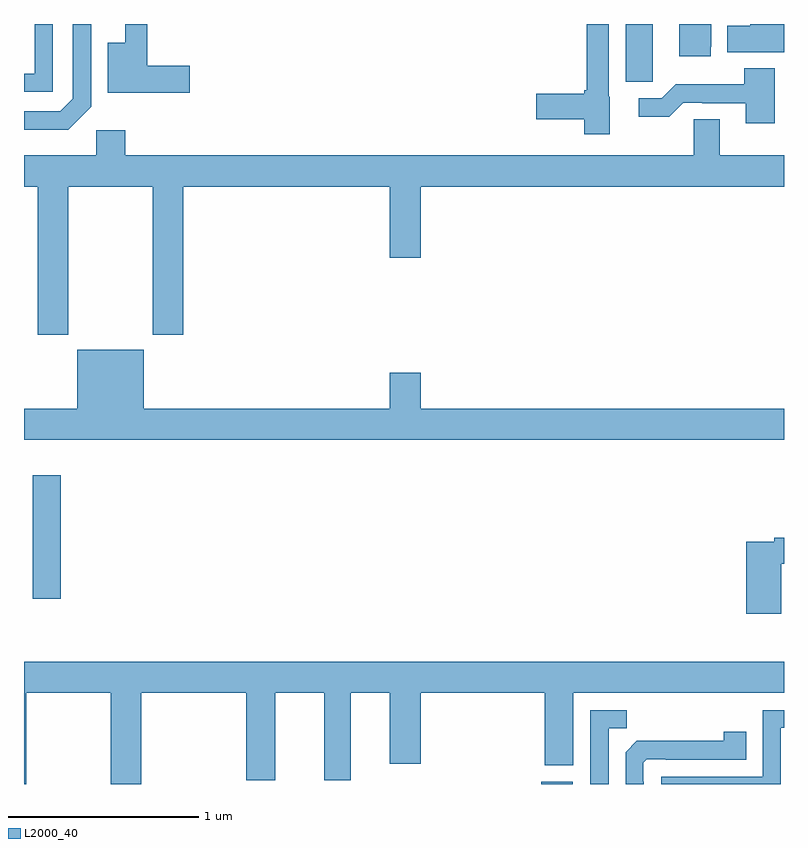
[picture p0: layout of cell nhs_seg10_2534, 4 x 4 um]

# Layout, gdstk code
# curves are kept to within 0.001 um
import gdstk
lib = gdstk.Library(unit=1e-6, precision=1e-09)
def R(c, l, rs):  # rectangles x0, y0, x1, y1
    for r in rs: c.add(gdstk.rectangle(r[:2], r[2:], *l))
def P(c, l, *ps):  # polygons
    for p in ps: c.add(gdstk.Polygon(p, *l))
L2000_40 = (2000, 40)

nhs_seg10_2534 = lib.new_cell('nhs_seg10_2534')
R(nhs_seg10_2534, L2000_40, [(249.722,1302.5,249.889,1302.511), (247.046,1303.476,247.193,1304.125)])
P(nhs_seg10_2534, L2000_40, [(247.353,1306.065),(247.353,1306.5),(247.257,1306.5),(247.257,1306.107),(247.191,1306.041),(247,1306.041),(247,1305.944),(247.232,1305.944)],
  [(250.615,1306.38),(250.617,1306.38),(250.617,1306.5),(250.448,1306.5),(250.448,1306.331),(250.615,1306.331)],
  [(247.873,1306.28),(247.649,1306.28),(247.649,1306.5),(247.532,1306.5),(247.532,1306.402),(247.442,1306.402),(247.442,1306.138),(247.873,1306.138)],
  [(250.308,1306.306),(250.309,1306.306),(250.309,1306.5),(250.166,1306.5),(250.166,1306.195),(250.308,1306.195)],
  [(247.152,1306.5),(247.056,1306.5),(247.056,1306.239),(247,1306.239),(247,1306.143),(247.152,1306.143)],
  [(251,1306.5),(250.823,1306.5),(250.823,1306.49),(250.702,1306.49),(250.702,1306.352),(251,1306.352)],
  [(250.084,1306.116),(250.077,1306.116),(250.077,1306.5),(249.961,1306.5),(249.961,1306.151),(249.948,1306.151),(249.948,1306.133),(249.696,1306.133),(249.696,1305.998),(249.948,1305.998),(249.948,1305.92),(250.084,1305.92)],
  [(250.952,1306.267),(250.792,1306.267),(250.792,1306.183),(250.429,1306.183),(250.356,1306.11),(250.236,1306.11),(250.236,1306.013),(250.397,1306.013),(250.47,1306.086),(250.57,1306.086),(250.57,1306.083),(250.799,1306.083),(250.799,1305.978),(250.952,1305.978)],
  [(247.233,1305.644),(247.678,1305.644),(247.678,1304.865),(247.838,1304.865),(247.838,1305.644),(248.924,1305.644),(248.924,1305.27),(249.088,1305.27),(249.088,1305.644),(251,1305.644),(251,1305.808),(250.663,1305.808),(250.663,1305.998),(250.524,1305.998),(250.524,1305.808),(247.532,1305.808),(247.532,1305.94),(247.38,1305.94),(247.38,1305.808),(247,1305.808),(247,1305.644),(247.073,1305.644),(247.073,1304.865),(247.233,1304.865)],
  [(251,1304.476),(249.088,1304.476),(249.088,1304.665),(248.924,1304.665),(248.924,1304.476),(247.63,1304.476),(247.63,1304.785),(247.28,1304.785),(247.28,1304.476),(247,1304.476),(247,1304.312),(251,1304.312)],
  [(250.985,1303.66),(251,1303.66),(251,1303.796),(250.948,1303.796),(250.948,1303.776),(250.802,1303.776),(250.802,1303.395),(250.985,1303.395)],
  [(247.011,1302.98),(247.456,1302.98),(247.456,1302.5),(247.616,1302.5),(247.616,1302.98),(248.171,1302.98),(248.171,1302.519),(248.323,1302.519),(248.323,1302.98),(248.579,1302.98),(248.579,1302.519),(248.719,1302.519),(248.719,1302.98),(248.924,1302.98),(248.924,1302.606),(249.088,1302.606),(249.088,1302.98),(249.74,1302.98),(249.74,1302.6),(249.892,1302.6),(249.892,1302.98),(251,1302.98),(251,1303.144),(247,1303.144),(247,1302.5),(247.011,1302.5)],
  [(250.983,1302.795),(251,1302.795),(251,1302.888),(250.887,1302.888),(250.887,1302.537),(250.353,1302.537),(250.353,1302.5),(250.983,1302.5)],
  [(250.077,1302.793),(250.173,1302.793),(250.173,1302.888),(249.981,1302.888),(249.981,1302.5),(250.077,1302.5)],
  [(250.263,1302.512),(250.26,1302.512),(250.26,1302.612),(250.278,1302.63),(250.378,1302.63),(250.378,1302.627),(250.802,1302.627),(250.802,1302.775),(250.684,1302.775),(250.684,1302.728),(250.226,1302.727),(250.167,1302.668),(250.167,1302.5),(250.263,1302.5)])

lib.write_gds('nhs_seg10_2534.gds')
